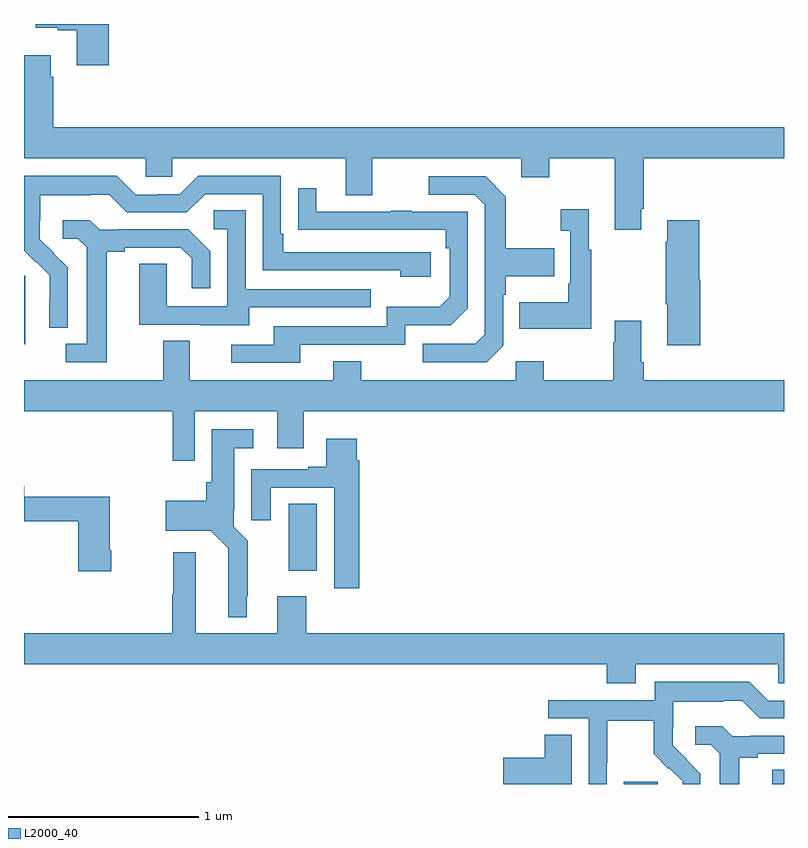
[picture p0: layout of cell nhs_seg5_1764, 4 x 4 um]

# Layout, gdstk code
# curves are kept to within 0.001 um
import gdstk
lib = gdstk.Library(unit=1e-6, precision=1e-09)
def R(c, l, rs):  # rectangles x0, y0, x1, y1
    for r in rs: c.add(gdstk.rectangle(r[:2], r[2:], *l))
def P(c, l, *ps):  # polygons
    for p in ps: c.add(gdstk.Polygon(p, *l))
L2000_40 = (2000, 40)

nhs_seg5_1764 = lib.new_cell('nhs_seg5_1764')
R(nhs_seg5_1764, L2000_40, [(220.157,854.799,220.336,854.811), (220.937,854.799,221,854.873), (218.393,855.921,218.542,856.274), (217,857.114,217.006,857.475)])
P(nhs_seg5_1764, L2000_40, [(217.445,858.799),(217.062,858.799),(217.062,858.779),(217.178,858.779),(217.178,858.767),(217.277,858.767),(217.277,858.582),(217.445,858.582)],
  [(220.249,857.827),(220.262,857.827),(220.262,858.092),(221,858.092),(221,858.256),(217.154,858.256),(217.154,858.521),(217.141,858.521),(217.141,858.634),(217.001,858.634),(217.001,858.256),(217,858.256),(217,858.092),(217.641,858.092),(217.641,857.994),(217.779,857.994),(217.779,858.092),(218.693,858.092),(218.693,857.898),(218.833,857.898),(218.833,858.092),(219.617,858.092),(219.617,857.993),(219.765,857.993),(219.765,858.092),(220.109,858.092),(220.109,857.715),(220.249,857.715)],
  [(217.23,857.518),(217.084,857.666),(217.084,857.763),(217.086,857.763),(217.086,857.897),(217.349,857.897),(217.349,857.901),(217.449,857.901),(217.542,857.808),(217.857,857.808),(217.953,857.904),(218.256,857.904),(218.256,857.502),(218.981,857.502),(218.981,857.468),(219.142,857.468),(219.142,857.598),(218.365,857.598),(218.365,857.695),(218.352,857.695),(218.352,858),(217.917,858),(217.821,857.904),(217.703,857.904),(217.703,857.901),(217.587,857.901),(217.487,858.001),(217,858.001),(217,857.606),(217.062,857.544),(217.065,857.547),(217.136,857.477),(217.136,857.354),(217.134,857.354),(217.134,857.2),(217.23,857.2)],
  [(219.522,857.106),(219.522,857.375),(219.535,857.375),(219.535,857.471),(219.791,857.471),(219.791,857.619),(219.535,857.619),(219.535,857.891),(219.429,857.997),(219.129,857.997),(219.129,857.901),(219.372,857.901),(219.426,857.847),(219.426,857.166),(219.375,857.115),(219.099,857.115),(219.099,857.019),(219.435,857.019)],
  [(218.455,857.112),(219.006,857.112),(219.006,857.214),(219.246,857.214),(219.336,857.304),(219.336,857.811),(219.041,857.811),(219.041,857.816),(218.929,857.816),(218.929,857.811),(218.539,857.811),(218.539,857.935),(218.443,857.935),(218.443,857.716),(219.22,857.715),(219.22,857.618),(219.24,857.618),(219.24,857.364),(219.187,857.311),(218.91,857.311),(218.91,857.208),(218.315,857.208),(218.315,857.112),(218.091,857.112),(218.091,857.016),(218.455,857.016)],
  [(219.985,857.611),(219.973,857.611),(219.973,857.824),(219.825,857.824),(219.825,857.711),(219.876,857.711),(219.876,857.431),(219.864,857.431),(219.864,857.335),(219.607,857.335),(219.607,857.195),(219.985,857.195)],
  [(218.185,857.307),(218.825,857.307),(218.825,857.403),(218.166,857.403),(218.166,857.819),(217.998,857.819),(217.998,857.718),(218.07,857.718),(218.07,857.313),(217.752,857.313),(217.752,857.537),(217.607,857.537),(217.607,857.217),(217.931,857.217),(217.931,857.213),(218.185,857.213)],
  [(220.558,857.454),(220.553,857.454),(220.553,857.767),(220.385,857.767),(220.385,857.654),(220.378,857.654),(220.378,857.323),(220.385,857.323),(220.385,857.108),(220.558,857.108)],
  [(217.435,857.6),(217.531,857.6),(217.531,857.622),(217.826,857.622),(217.883,857.565),(217.883,857.409),(217.98,857.409),(217.98,857.602),(217.864,857.718),(217.492,857.718),(217.492,857.715),(217.398,857.715),(217.346,857.767),(217.203,857.767),(217.203,857.67),(217.284,857.67),(217.331,857.623),(217.331,857.115),(217.221,857.115),(217.221,857.019),(217.435,857.019)],
  [(217.899,856.76),(218.333,856.76),(218.333,856.566),(218.473,856.566),(218.473,856.76),(221,856.76),(221,856.924),(220.262,856.924),(220.262,857.02),(220.249,857.02),(220.249,857.236),(220.109,857.236),(220.109,857.123),(220.102,857.123),(220.102,856.924),(219.735,856.924),(219.735,857.023),(219.588,857.023),(219.588,856.924),(218.775,856.924),(218.775,857.023),(218.627,857.023),(218.627,856.924),(217.873,856.924),(217.873,857.132),(217.733,857.132),(217.733,856.924),(217,856.924),(217,856.76),(217.783,856.76),(217.783,856.5),(217.899,856.5)],
  [(218.173,855.787),(218.177,855.787),(218.177,856.078),(218.103,856.152),(218.103,856.246),(218.107,856.246),(218.107,856.565),(218.206,856.565),(218.206,856.666),(217.988,856.666),(217.988,856.386),(217.958,856.386),(217.958,856.291),(217.746,856.291),(217.746,856.133),(217.983,856.133),(218.076,856.04),(218.075,855.677),(218.173,855.677)],
  [(218.765,856.502),(218.752,856.502),(218.752,856.615),(218.591,856.615),(218.591,856.468),(218.495,856.468),(218.495,856.455),(218.195,856.455),(218.195,856.188),(218.299,856.188),(218.299,856.359),(218.633,856.359),(218.633,855.828),(218.765,855.828)],
  [(217.458,856.03),(217.45,856.03),(217.45,856.312),(217.001,856.312),(217.001,856.366),(217,856.366),(217,856.183),(217.285,856.183),(217.285,855.918),(217.458,855.918)],
  [(220.219,855.428),(220.971,855.428),(220.971,855.33),(221,855.33),(221,855.592),(218.486,855.592),(218.486,855.787),(218.333,855.787),(218.333,855.592),(217.903,855.592),(217.903,856.018),(217.786,856.018),(217.786,855.797),(217.781,855.797),(217.781,855.592),(217,855.592),(217,855.428),(220.067,855.428),(220.067,855.329),(220.219,855.329)],
  [(220.068,854.908),(220.071,854.908),(220.071,855.132),(220.315,855.132),(220.315,854.957),(220.392,854.88),(220.395,854.883),(220.466,854.813),(220.466,854.799),(220.56,854.799),(220.56,854.854),(220.414,855.002),(220.414,855.099),(220.416,855.099),(220.416,855.233),(220.679,855.233),(220.679,855.237),(220.779,855.237),(220.872,855.144),(221,855.144),(221,855.237),(220.917,855.237),(220.817,855.337),(220.32,855.337),(220.32,855.24),(219.759,855.24),(219.759,855.144),(219.972,855.144),(219.972,854.799),(220.068,854.799)],
  [(220.765,854.936),(220.861,854.936),(220.861,854.958),(221,854.958),(221,855.054),(220.822,855.054),(220.822,855.051),(220.728,855.051),(220.676,855.103),(220.533,855.103),(220.533,855.006),(220.614,855.006),(220.661,854.959),(220.661,854.799),(220.765,854.799)],
  [(219.883,855.059),(219.74,855.059),(219.74,854.936),(219.522,854.936),(219.522,854.799),(219.883,854.799)])

lib.write_gds('nhs_seg5_1764.gds')
